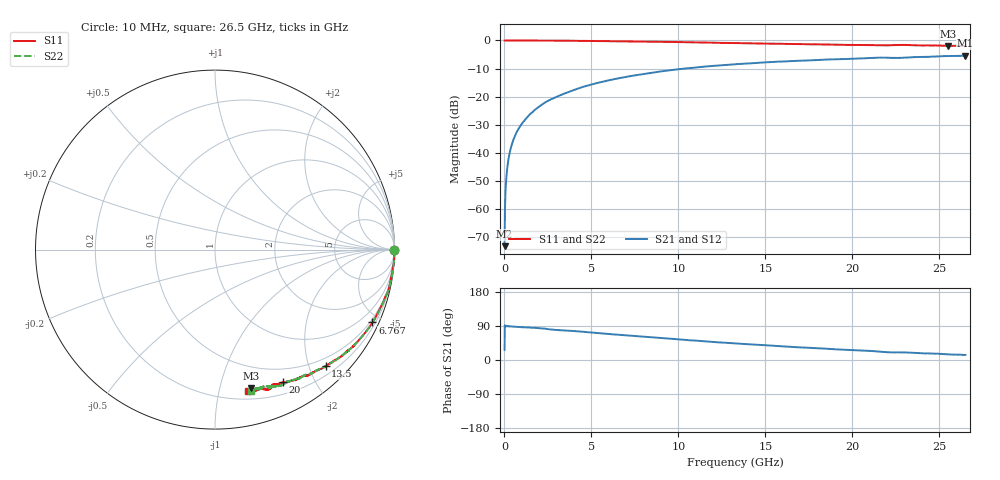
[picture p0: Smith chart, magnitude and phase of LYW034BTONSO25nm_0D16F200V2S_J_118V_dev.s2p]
!Keysight Technologies,N5222B,MY61253708,A.15.00.15
!Date: Wednesday, June 19, 2024 09:48:31
!Correction: S11(C  2-Port  )
!S21(C  2-Port  )
!S12(C  2-Port  )
!S22(C  2-Port  )
!S2P File: Measurements: S11, S21, S12, S22:
# Hz S  RI  R 50
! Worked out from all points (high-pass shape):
!   2651 points, 10 MHz to 26.5 GHz, reference 50 ohm
!   highest |S21| = -5.39 dB at 26.5 GHz (marker M1); lowest = -73.3 dB at 10 MHz (marker M2)
!   |S21| within 3 dB of the highest: 13.45721 GHz to 13.48632 GHz (29.11 MHz wide, 0.216 % of centre); 13.51 GHz to end of sweep
!   lowest |S11| = -2.0 dB at 25.5 GHz (marker M3), VSWR 8.90, Z = 14.7 - j62.5 ohm
!   |S11| at or under -10 dB: nowhere
!   |S22| runs from -1.9 to 0.0 dB; largest |S21 - S12| = 0.0065
!   S11 on the Smith chart (normalised r, x): 10 MHz: open; 6.767 GHz: 0.37, -4.51; 13.5 GHz: 0.35, -2.28; 20 GHz: 0.33, -1.58; 26.5 GHz: 0.27, -1.22
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1e7  0.9987 -0.00274  0.000193 9.85e-05  -6.33e-05 0.000406  0.9985 -0.00114
7.997358e7  1 -0.00573  -1.73e-05 0.00265  3.33e-06 0.00269  0.9994 -0.00516
1.499472e8  1 -0.0109  5.16e-05 0.00497  3.56e-05 0.005  0.9996 -0.0101
1.899321e8  1 -0.0128  0.000103 0.00629  9.01e-05 0.00632  0.9999 -0.0119
2.499094e8  0.9996 -0.0172  0.000138 0.00827  0.000135 0.00832  0.9994 -0.0163
3.398755e8  0.9994 -0.0231  0.000271 0.0112  0.000273 0.0114  0.9996 -0.022
4.698264e8  0.9989 -0.0321  0.000458 0.0155  0.000461 0.0156  0.9984 -0.0309
6.197698e8  0.999 -0.0416  0.000837 0.0205  0.000822 0.0206  0.9988 -0.0405
8.096981e8  0.9981 -0.0542  0.00139 0.0266  0.00139 0.0268  0.9976 -0.0528
1.429464e9  0.9906 -0.0967  0.00329 0.047  0.00335 0.0472  0.9934 -0.0927
2.269147e9  0.983 -0.1484  0.00921 0.0755  0.00937 0.0759  0.9845 -0.1475
3.118826e9  0.9722 -0.2016  0.0199 0.101  0.0202 0.1016  0.9726 -0.1998
4.428332e9  0.9427 -0.2804  0.0382 0.1412  0.0386 0.1421  0.9449 -0.2763
6.767449e9  0.8772 -0.406  0.0893 0.1988  0.0907 0.1995  0.8798 -0.4043
8.846664e9  0.8033 -0.5022  0.1443 0.2364  0.146 0.237  0.8063 -0.4988
1.3255e10  0.6272 -0.6423  0.2715 0.261  0.2739 0.2606  0.6335 -0.6393
1.350491e10  0.6164 -0.6494  0.278 0.2598  0.2801 0.2601  0.6237 -0.6439
1.767333e10  0.4552 -0.7216  0.3778 0.2334  0.3813 0.2316  0.4689 -0.7181
2.000245e10  0.3766 -0.7398  0.4238 0.2077  0.4269 0.205  0.3927 -0.7389
2.209166e10  0.3195 -0.7545  0.4607 0.1716  0.4625 0.1685  0.3175 -0.7605
2.550038e10  0.2009 -0.7723  0.51 0.1353  0.5114 0.1344  0.2247 -0.7755
2.65e10  0.1813 -0.786  0.5233 0.1238  0.523 0.1198  0.1982 -0.7853
